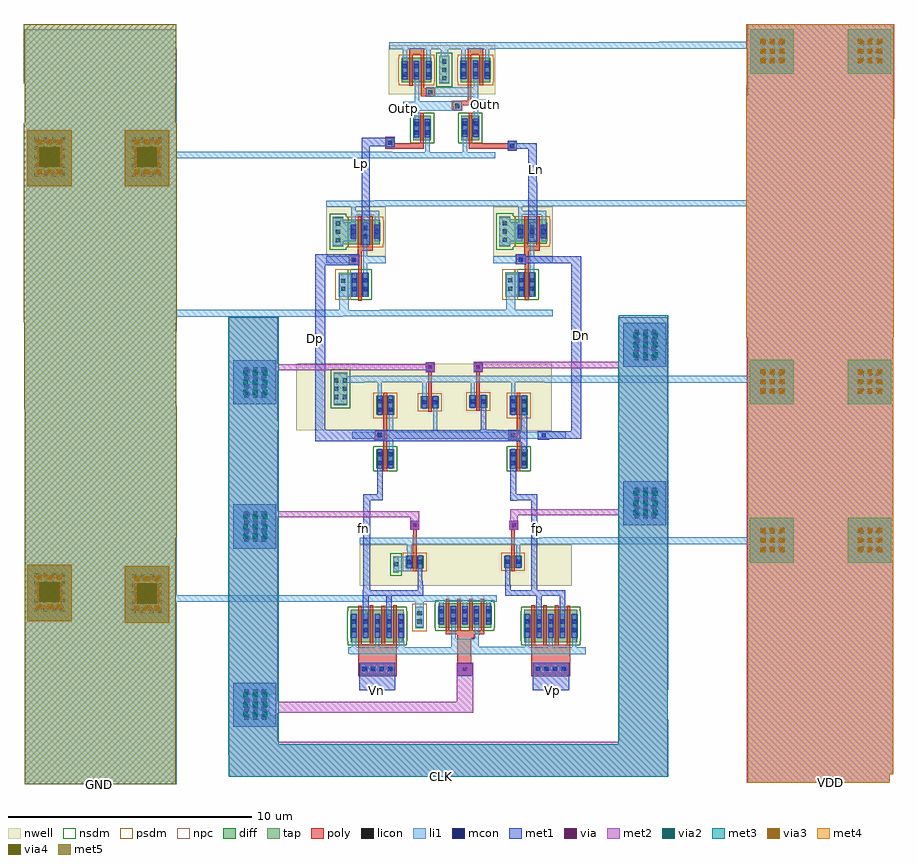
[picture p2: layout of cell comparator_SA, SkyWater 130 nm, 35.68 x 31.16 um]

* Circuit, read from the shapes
.subckt comparator_SA CLK Dn Dp GND Ln Lp Outn Outp VDD Vn Vp fn fp
XM1 fn Vn n1 GND sky130_fd_pr__nfet_01v8 w=1.33 l=0.15 m=4
XM2 Lp Dp GND GND sky130_fd_pr__nfet_01v8 w=1 l=0.15
XM3 Dn Dp fn GND sky130_fd_pr__nfet_01v8 w=0.78 l=0.15
XM4 GND Lp Outp GND sky130_fd_pr__nfet_01v8 w=1 l=0.15
XM5 n1 CLK GND GND sky130_fd_pr__nfet_01v8 w=1 l=0.15 m=4
XM6 Outn Ln GND GND sky130_fd_pr__nfet_01v8 w=1 l=0.15
XM7 Dp Dn fp GND sky130_fd_pr__nfet_01v8 w=0.78 l=0.15
XM8 Ln Dn GND GND sky130_fd_pr__nfet_01v8 w=1 l=0.15
XM9 fp Vp n1 GND sky130_fd_pr__nfet_01v8 w=1.33 l=0.15 m=4
XM10 Lp Dp VDD VDD sky130_fd_pr__pfet_01v8 w=1 l=0.15 m=2
XM11 Dn Dp VDD VDD sky130_fd_pr__pfet_01v8 w=0.78 l=0.15
XM12 Outp Outn VDD VDD sky130_fd_pr__pfet_01v8 w=1 l=0.15 m=2
XM13 fn CLK VDD VDD sky130_fd_pr__pfet_01v8 w=0.5 l=0.15
XM14 Dn CLK VDD VDD sky130_fd_pr__pfet_01v8 w=0.5 l=0.15
XM15 Outn Outp VDD VDD sky130_fd_pr__pfet_01v8 w=1 l=0.15 m=2
XM16 Dp CLK VDD VDD sky130_fd_pr__pfet_01v8 w=0.5 l=0.15
XM17 VDD CLK fp VDD sky130_fd_pr__pfet_01v8 w=0.5 l=0.15
XM18 Dp Dn VDD VDD sky130_fd_pr__pfet_01v8 w=0.78 l=0.15
XM19 Ln Dn VDD VDD sky130_fd_pr__pfet_01v8 w=1 l=0.15 m=2
.ends

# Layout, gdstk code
import gdstk
lib = gdstk.Library(unit=1e-6, precision=1e-09)
def R(c, l, rs):  # rectangles x0, y0, x1, y1
    for r in rs: c.add(gdstk.rectangle(r[:2], r[2:], *l))
def A(c, l, x, y, w, h, nx, ny, dx, dy):  # array of equal rectangles
    R(c, l, [(x+i*dx, y+j*dy, x+i*dx+w, y+j*dy+h) for i in range(nx) for j in range(ny)])
nwell = (64, 20)
diff = (65, 20)
tap = (65, 44)
poly = (66, 20)
licon = (66, 44)
li1 = (67, 20)
mcon = (67, 44)
met1 = (68, 20)
via = (68, 44)
met2 = (69, 20)
via2 = (69, 44)
met3 = (70, 20)
via3 = (70, 44)
met4 = (71, 20)
via4 = (71, 44)
met5 = (72, 20)
nsdm = (93, 44)
psdm = (94, 20)
npc = (95, 20)

sky130_fd_pr__pfet_01v8_ = lib.new_cell('sky130_fd_pr__pfet_01v8_5233FE')
R(sky130_fd_pr__pfet_01v8_, nwell, [(-0.545,-0.56,0.545,0.56)])
R(sky130_fd_pr__pfet_01v8_, diff, [(-0.365,-0.25,0.365,0.25)])
R(sky130_fd_pr__pfet_01v8_, poly, [(-0.075,-0.38,0.075,0.38)])
R(sky130_fd_pr__pfet_01v8_, licon, [(-0.305,-0.085,-0.135,0.085), (0.135,-0.085,0.305,0.085)])
R(sky130_fd_pr__pfet_01v8_, li1, [(-0.305,-0.27,-0.135,0.27), (0.135,-0.27,0.305,0.27)])
R(sky130_fd_pr__pfet_01v8_, mcon, [(-0.305,-0.085,-0.135,0.085), (0.135,-0.085,0.305,0.085)])
R(sky130_fd_pr__pfet_01v8_, met1, [(-0.335,-0.25,-0.105,0.25), (0.105,-0.25,0.335,0.25)])
R(sky130_fd_pr__pfet_01v8_, psdm, [(-0.49,-0.375,0.49,0.375)])

sky130_fd_pr__nfet_01v8_ = lib.new_cell('sky130_fd_pr__nfet_01v8_NHLLAS')
R(sky130_fd_pr__nfet_01v8_, diff, [(-1.085,-0.665,1.085,-0.48), (-1.105,-0.48,1.105,0.48), (-1.085,0.48,1.085,0.665)])
A(sky130_fd_pr__nfet_01v8_, poly, -0.795, -0.765, 0.15, 1.53, 4, 1, 0.48, 0)
A(sky130_fd_pr__nfet_01v8_, licon, -1.045, -0.255, 0.17, 0.17, 5, 2, 0.48, 0.34)
A(sky130_fd_pr__nfet_01v8_, li1, -1.045, -0.5, 0.17, 1, 5, 1, 0.48, 0)
A(sky130_fd_pr__nfet_01v8_, mcon, -1.045, -0.265, 0.17, 0.17, 5, 2, 0.48, 0.36)
A(sky130_fd_pr__nfet_01v8_, met1, -1.075, -0.48, 0.23, 0.96, 5, 1, 0.48, 0)
R(sky130_fd_pr__nfet_01v8_, nsdm, [(-1.21,-0.79,1.21,-0.605), (-1.23,-0.605,1.23,0.605), (-1.21,0.605,1.21,0.79)])

c_sky130_fd_pr__nfet_01v8_ = lib.new_cell('sky130_fd_pr__nfet_01v8_G6PLX8')
R(c_sky130_fd_pr__nfet_01v8_, diff, [(-1.085,-0.5,1.085,-0.37), (-1.105,-0.37,1.105,0.37), (-1.085,0.37,1.085,0.5)])
A(c_sky130_fd_pr__nfet_01v8_, poly, -0.795, -0.63, 0.15, 1.23, 4, 1, 0.48, 0)
R(c_sky130_fd_pr__nfet_01v8_, poly, [(-0.255,-0.94,0.375,-0.78), (-0.795,-0.78,0.795,-0.63)])
A(c_sky130_fd_pr__nfet_01v8_, licon, -1.045, -0.255, 0.17, 0.17, 5, 2, 0.48, 0.34)
A(c_sky130_fd_pr__nfet_01v8_, li1, -1.045, -0.39, 0.17, 0.78, 5, 1, 0.48, 0)
R(c_sky130_fd_pr__nfet_01v8_, li1, [(-4.725,-1.58,4.945,-1.51), (-4.725,-1.51,2.365,-1.49), (-2.655,-1.49,-2.485,-1.06), (-2.415,-1.49,2.365,-1.3), (-0.505,-1.3,2.365,-1.29)])
A(c_sky130_fd_pr__nfet_01v8_, mcon, -1.045, -0.265, 0.17, 0.17, 5, 2, 0.48, 0.36)
A(c_sky130_fd_pr__nfet_01v8_, met1, -1.075, -0.37, 0.23, 0.74, 5, 1, 0.48, 0)
R(c_sky130_fd_pr__nfet_01v8_, nsdm, [(-1.21,-0.625,1.21,-0.495), (-1.23,-0.495,1.23,0.495), (-1.21,0.495,1.21,0.625)])

preamp_part1sa = lib.new_cell('preamp_part1SA')
R(preamp_part1sa, nwell, [(-3.6,2.41,5.09,4.08)])
R(preamp_part1sa, tap, [(-2.23,2.95,-2,3.62)])
A(preamp_part1sa, poly, 3.44, -0.01, 0.15, 0.03, 4, 1, 0.48, 0)
A(preamp_part1sa, poly, -3.67, 0.02, 0.15, 0.01, 4, 1, 0.48, 0)
A(preamp_part1sa, poly, 3.44, 1.52, 0.15, 0.08, 3, 1, 0.48, 0)
A(preamp_part1sa, poly, 0.4, 1.77, 0.15, 0.11, 3, 1, 0.48, 0)
R(preamp_part1sa, poly, [(-3.67,-1.3,-2.08,0.02), (3.44,-1.3,5.03,-0.01), (0.4,-1.29,1.03,-0.85), (0.4,-0.85,0.97,0.42), (-3.67,1.5,-3.52,1.59), (-2.71,1.5,-2.56,1.59), (-3.19,1.51,-3.04,1.6), (-2.23,1.51,-2.08,1.6), (4.88,1.51,5.03,1.59), (-0.08,1.76,0.07,1.87), (-1.42,3.74,-1.26,4.48), (2.61,3.75,2.76,4.7), (-1.41,4.48,-1.26,4.7), (-1.51,4.7,-1.17,5.08), (2.53,4.7,2.87,5.08)])
A(preamp_part1sa, licon, -3.47, -1.09, 0.17, 0.17, 4, 1, 0.34, 0)
A(preamp_part1sa, licon, 3.64, -1.08, 0.17, 0.17, 4, 1, 0.34, 0)
R(preamp_part1sa, licon, [(0.625,-1.105,0.795,-0.935), (-2.2,3.2,-2.03,3.37), (-1.425,4.81,-1.255,4.98), (2.625,4.81,2.795,4.98)])
R(preamp_part1sa, li1, [(0.39,-1.3,1.03,-0.76), (-3.61,-1.26,-2.14,-0.75), (3.49,-1.25,4.98,-0.74), (-4.07,-0.37,-1.62,-0.11), (-0.12,-0.37,1.36,-0.11), (2.86,-0.37,5.6,-0.32), (2.86,-0.32,5.66,-0.11), (-3.92,-0.11,-3.75,0.29), (-2.96,-0.11,-2.79,0.28), (-2,-0.11,-1.83,0.33), (0.15,-0.11,1.28,0.24), (2.93,-0.11,3.36,-0.1), (4.15,-0.11,4.32,0.27), (5.11,-0.11,5.28,0.28), (3.19,-0.1,3.36,0.3), (0.15,0.24,0.33,0.86), (1.11,0.24,1.28,0.37), (1.11,0.37,1.29,0.93), (3.19,0.96,3.36,1.11), (5.11,0.96,5.28,1.11), (4.15,0.97,4.32,1.11), (0.63,1.55,0.8,1.86), (-0.33,1.56,-0.16,1.87), (1.59,1.56,1.76,1.87), (-2.23,2.99,-2,3), (-2.23,3,-1.49,3.5), (-2.23,3.5,-1.47,3.58), (2.82,3.56,2.99,4.12), (-2.12,3.58,-1.47,3.59), (-1.66,3.59,-1.47,3.86), (-1.67,3.86,-1.46,4.12), (-3.6,4.12,5.1,4.37), (-1.51,4.7,-1.17,5.08), (2.53,4.7,2.87,5.08)])
A(preamp_part1sa, mcon, -3.5, -1.085, 0.17, 0.17, 4, 1, 0.36, 0)
A(preamp_part1sa, mcon, 3.61, -1.08, 0.17, 0.17, 4, 1, 0.36, 0)
R(preamp_part1sa, mcon, [(0.63,-1.105,0.8,-0.935), (-1.425,4.81,-1.255,4.98), (2.625,4.81,2.795,4.98)])
R(preamp_part1sa, met1, [(0.39,-1.29,1.03,-0.76), (-3.61,-1.27,-2.14,-0.75), (3.49,-1.25,4.98,-0.74), (3.67,0.94,3.85,1.11), (4.62,0.96,4.8,1.11), (-3.47,1.18,-3.24,2), (-2.51,1.19,-2.28,2), (3.64,1.2,3.87,2), (4.6,1.22,4.83,2), (-3.47,2,-1,2.22), (2.36,2,4.83,2.22), (-1.22,2.22,-1,2.43), (2.36,2.22,2.6,2.43), (-1.22,2.43,-1.01,2.61), (2.36,2.43,2.58,3.26), (-1.22,2.61,-1.03,3.26), (-1.51,4.7,-1.17,5.08), (2.53,4.7,2.87,5.08)])
R(preamp_part1sa, nsdm, [(-2.355,2.825,-1.875,3.745)])
R(preamp_part1sa, npc, [(0.525,-1.205,0.895,-0.835), (-3.57,-1.19,-2.18,-0.82), (3.54,-1.18,4.93,-0.81), (-1.525,4.71,-1.155,5.08), (2.525,4.71,2.895,5.08)])
preamp_part1sa.add(gdstk.Reference(sky130_fd_pr__nfet_01v8_, (4.235,0.765)))
preamp_part1sa.add(gdstk.Reference(sky130_fd_pr__nfet_01v8_, (-2.875,0.765)))
preamp_part1sa.add(gdstk.Reference(c_sky130_fd_pr__nfet_01v8_, (0.715,1.19)))

c_sky130_fd_pr__pfet_01v8_ = lib.new_cell('sky130_fd_pr__pfet_01v8_5C3Z5B')
R(c_sky130_fd_pr__pfet_01v8_, nwell, [(-0.545,-0.7,0.545,0.7)])
R(c_sky130_fd_pr__pfet_01v8_, diff, [(-0.365,-0.39,0.365,0.39)])
R(c_sky130_fd_pr__pfet_01v8_, poly, [(-0.075,-0.52,0.075,0.52)])
R(c_sky130_fd_pr__pfet_01v8_, licon, [(-0.305,-0.255,-0.135,-0.085), (0.135,-0.255,0.305,-0.085), (-0.305,0.085,-0.135,0.255), (0.135,0.085,0.305,0.255)])
R(c_sky130_fd_pr__pfet_01v8_, li1, [(-0.305,-0.41,-0.135,0.41), (0.135,-0.41,0.305,0.41)])
R(c_sky130_fd_pr__pfet_01v8_, mcon, [(-0.305,-0.265,-0.135,-0.095), (0.135,-0.265,0.305,-0.095), (-0.305,0.095,-0.135,0.265), (0.135,0.095,0.305,0.265)])
R(c_sky130_fd_pr__pfet_01v8_, met1, [(-0.335,-0.39,-0.105,0.39), (0.105,-0.39,0.335,0.39)])
R(c_sky130_fd_pr__pfet_01v8_, psdm, [(-0.49,-0.515,0.49,0.515)])

c_sky130_fd_pr__nfet_01v8__ = lib.new_cell('sky130_fd_pr__nfet_01v8_KBWVY9')
R(c_sky130_fd_pr__nfet_01v8__, diff, [(-0.365,-0.39,0.365,0.39)])
R(c_sky130_fd_pr__nfet_01v8__, poly, [(-0.075,-0.52,0.075,0.52)])
R(c_sky130_fd_pr__nfet_01v8__, licon, [(-0.305,-0.255,-0.135,-0.085), (0.135,-0.255,0.305,-0.085), (-0.305,0.085,-0.135,0.255), (0.135,0.085,0.305,0.255)])
R(c_sky130_fd_pr__nfet_01v8__, li1, [(-0.305,-0.41,-0.135,0.41), (0.135,-0.41,0.305,0.41)])
R(c_sky130_fd_pr__nfet_01v8__, mcon, [(-0.305,-0.265,-0.135,-0.095), (0.135,-0.265,0.305,-0.095), (-0.305,0.095,-0.135,0.265), (0.135,0.095,0.305,0.265)])
R(c_sky130_fd_pr__nfet_01v8__, met1, [(-0.335,-0.39,-0.105,0.39), (0.105,-0.39,0.335,0.39)])
R(c_sky130_fd_pr__nfet_01v8__, nsdm, [(-0.49,-0.515,0.49,0.515)])

inv_w22 = lib.new_cell('inv_W22')
R(inv_w22, poly, [(0.89,1.49,0.93,1.52), (0.78,1.52,0.93,1.76), (0.42,1.76,0.93,2.18), (0.78,2.18,0.93,2.76)])
R(inv_w22, licon, [(0.535,1.88,0.705,2.05)])
R(inv_w22, li1, [(1,1.3,1.17,1.39), (0.42,1.76,0.83,1.82), (-0.5,1.82,0.83,2.1), (0.42,2.1,0.83,2.18), (0.55,3.54,0.72,4.14), (-0.5,4.14,1.94,4.39)])
R(inv_w22, npc, [(0.435,1.78,0.805,2.15)])
inv_w22.add(gdstk.Reference(c_sky130_fd_pr__pfet_01v8_, (0.855,3.18)))
inv_w22.add(gdstk.Reference(c_sky130_fd_pr__nfet_01v8__, (0.855,1)))
inv_w22.add(gdstk.Label('Vin', (-0.5,1.95), layer=67, texttype=5))
inv_w22.add(gdstk.Label('VDD', (-0.5,4.27), layer=67, texttype=5))

latch_2sa = lib.new_cell('latch_2SA')
R(latch_2sa, nwell, [(0,2.58,7.97,4.67)])
R(latch_2sa, li1, [(2.4,2.18,5.6,2.46), (3.14,4.49,3.31,4.5), (4.1,4.49,4.27,4.5), (2.51,4.5,5.7,4.75)])
latch_2sa.add(gdstk.Reference(inv_w22, (6.07,0.36)))
latch_2sa.add(gdstk.Reference(inv_w22, (0.6,0.36)))

pmos_2uf2 = lib.new_cell('pmos_2uf2')
R(pmos_2uf2, nwell, [(-1.585,-1.01,0.845,1.02)])
R(pmos_2uf2, diff, [(-0.695,-0.5,0.605,-0.37), (-0.695,-0.37,0.625,0.37), (-0.695,0.37,0.605,0.5)])
R(pmos_2uf2, tap, [(-1.335,-0.62,-0.895,-0.5), (-1.335,-0.5,-0.695,0.5), (-1.335,0.5,-0.895,0.62)])
R(pmos_2uf2, poly, [(-0.315,-0.65,-0.165,0.63), (0.165,-0.65,0.315,0.63)])
A(pmos_2uf2, licon, -1.2, -0.425, 0.17, 0.17, 1, 3, 0, 0.34)
A(pmos_2uf2, licon, -0.565, -0.255, 0.17, 0.17, 3, 2, 0.48, 0.34)
R(pmos_2uf2, li1, [(-1.335,-0.58,-0.895,-0.39), (-1.335,-0.39,-0.395,0.39), (-0.085,-0.39,0.085,0.39), (0.395,-0.39,0.565,0.39), (-1.335,0.39,-0.895,0.58)])
R(pmos_2uf2, mcon, [(-0.565,-0.085,-0.395,0.085), (0.395,-0.085,0.565,0.085)])
R(pmos_2uf2, met1, [(-0.595,-0.28,-0.365,0.28), (0.365,-0.28,0.595,0.28)])
R(pmos_2uf2, nsdm, [(-1.46,-0.745,-0.77,-0.625), (-1.46,-0.625,-0.695,0.625), (-1.46,0.625,-0.77,0.745)])
R(pmos_2uf2, psdm, [(-0.695,-0.625,0.73,-0.495), (-0.695,-0.495,0.75,0.495), (-0.695,0.495,0.73,0.625)])

c_sky130_fd_pr__nfet_01v8___ = lib.new_cell('sky130_fd_pr__nfet_01v8_7RYEVP')
R(c_sky130_fd_pr__nfet_01v8___, diff, [(-0.365,-0.345,0.365,0.655)])
R(c_sky130_fd_pr__nfet_01v8___, poly, [(-0.075,-0.445,0.075,0.785)])
R(c_sky130_fd_pr__nfet_01v8___, licon, [(-0.305,-0.1,-0.135,0.07), (0.135,-0.1,0.305,0.07), (-0.305,0.24,-0.135,0.41), (0.135,0.24,0.305,0.41)])
R(c_sky130_fd_pr__nfet_01v8___, li1, [(-0.305,-0.285,-0.135,0.595), (0.135,-0.285,0.305,0.595)])
R(c_sky130_fd_pr__nfet_01v8___, mcon, [(-0.305,-0.11,-0.135,0.06), (0.135,-0.11,0.305,0.06), (-0.305,0.25,-0.135,0.42), (0.135,0.25,0.305,0.42)])
R(c_sky130_fd_pr__nfet_01v8___, met1, [(-0.335,-0.345,-0.105,0.655), (0.105,-0.345,0.335,0.655)])
R(c_sky130_fd_pr__nfet_01v8___, nsdm, [(-0.49,-0.47,0.49,0.78)])

nmos_1u = lib.new_cell('nmos_1u')
R(nmos_1u, diff, [(-0.06,0.37,-0.05,1.37)])
R(nmos_1u, tap, [(-0.56,0.37,-0.06,1.37)])
R(nmos_1u, licon, [(-0.45,0.615,-0.28,0.785), (-0.45,0.955,-0.28,1.125)])
R(nmos_1u, li1, [(-0.53,0.43,0.01,1.31)])
R(nmos_1u, nsdm, [(-0.06,0.245,0.075,1.495)])
R(nmos_1u, psdm, [(-0.685,0.245,-0.06,1.495)])
nmos_1u.add(gdstk.Reference(c_sky130_fd_pr__nfet_01v8___, (0.315,0.715)))

inv_w1 = lib.new_cell('inv_W1')
R(inv_w1, nwell, [(-0.5,2.1,-0.49,4.13), (0.78,2.16,1.41,2.47), (0.53,3.79,1.67,3.97)])
R(inv_w1, poly, [(0.8,1.49,0.95,1.76), (0.42,1.76,0.95,2.18), (0.78,2.18,0.95,2.33), (0.78,2.33,1.41,2.53)])
R(inv_w1, licon, [(0.54,1.88,0.71,2.05)])
R(inv_w1, li1, [(-0.5,-0.36,1.94,-0.1), (0.03,-0.1,0.41,0.57), (1.01,1.3,1.18,1.82), (0.42,1.76,0.84,1.82), (-0.5,1.82,0.84,2.1), (1.01,1.82,1.94,2.1), (0.42,2.1,0.84,2.18), (1.01,2.1,1.18,2.78), (0.53,2.89,0.7,3.79), (1.49,3.42,1.67,3.79), (0.53,3.79,1.67,3.97), (0.53,3.97,0.7,4.14), (-0.5,4.14,1.94,4.39)])
R(inv_w1, npc, [(0.44,1.78,0.81,2.15)])
inv_w1.add(gdstk.Reference(pmos_2uf2, (1.095,3.11)))
inv_w1.add(gdstk.Reference(nmos_1u, (0.56,0.07)))
inv_w1.add(gdstk.Label('Vin', (-0.5,1.95), layer=67, texttype=5))
inv_w1.add(gdstk.Label('Vout', (1.94,1.96), layer=67, texttype=5))
inv_w1.add(gdstk.Label('VDD', (-0.5,4.27), layer=67, texttype=5))
inv_w1.add(gdstk.Label('GND', (-0.5,-0.23), layer=67, texttype=5))

c_sky130_fd_pr__pfet_01v8__ = lib.new_cell('sky130_fd_pr__pfet_01v8_AC5E9B')
R(c_sky130_fd_pr__pfet_01v8__, nwell, [(-0.805,-1,0.325,-0.81), (-0.805,-0.81,0.805,0.81), (-0.325,0.81,0.805,1)])
R(c_sky130_fd_pr__pfet_01v8__, diff, [(-0.605,-0.5,0.605,-0.37), (-0.625,-0.37,0.625,0.37), (-0.605,0.37,0.605,0.5)])
R(c_sky130_fd_pr__pfet_01v8__, poly, [(-0.315,-0.65,-0.165,0.63), (0.165,-0.63,0.315,0.65)])
A(c_sky130_fd_pr__pfet_01v8__, licon, -0.565, -0.255, 0.17, 0.17, 3, 2, 0.48, 0.34)
A(c_sky130_fd_pr__pfet_01v8__, li1, -0.565, -0.39, 0.17, 0.78, 3, 1, 0.48, 0)
A(c_sky130_fd_pr__pfet_01v8__, mcon, -0.565, -0.265, 0.17, 0.17, 3, 2, 0.48, 0.36)
A(c_sky130_fd_pr__pfet_01v8__, met1, -0.595, -0.37, 0.23, 0.74, 3, 1, 0.48, 0)
R(c_sky130_fd_pr__pfet_01v8__, psdm, [(-0.73,-0.625,0.73,-0.495), (-0.75,-0.495,0.75,0.495), (-0.73,0.495,0.73,0.625)])

c_sky130_fd_pr__nfet_01v8____ = lib.new_cell('sky130_fd_pr__nfet_01v8_F5U58G')
R(c_sky130_fd_pr__nfet_01v8____, diff, [(-0.365,-0.5,0.365,0.5)])
R(c_sky130_fd_pr__nfet_01v8____, poly, [(-0.075,-0.63,0.075,0.63)])
R(c_sky130_fd_pr__nfet_01v8____, licon, [(-0.305,-0.255,-0.135,-0.085), (0.135,-0.255,0.305,-0.085), (-0.305,0.085,-0.135,0.255), (0.135,0.085,0.305,0.255)])
R(c_sky130_fd_pr__nfet_01v8____, li1, [(-0.305,-0.39,-0.135,0.39), (0.135,-0.39,0.305,0.39)])
R(c_sky130_fd_pr__nfet_01v8____, mcon, [(-0.305,-0.265,-0.135,-0.095), (0.135,-0.265,0.305,-0.095), (-0.305,0.095,-0.135,0.265), (0.135,0.095,0.305,0.265)])
R(c_sky130_fd_pr__nfet_01v8____, met1, [(-0.335,-0.37,-0.105,0.37), (0.105,-0.37,0.335,0.37)])
R(c_sky130_fd_pr__nfet_01v8____, nsdm, [(-0.49,-0.625,0.49,0.625)])

sr_latch = lib.new_cell('SR_latch')
R(sr_latch, nwell, [(0,2.62,4.36,4.63)])
R(sr_latch, poly, [(2.59,1.96,3.01,2.17), (2.59,2.17,3.39,2.37), (3.24,2.37,3.39,3.03), (1.31,2.54,1.9,2.88), (1.31,2.88,1.46,3.05), (0.83,4.24,1.46,4.51), (3.24,4.24,3.87,4.51)])
R(sr_latch, licon, [(2.72,2.065,2.89,2.235), (1.62,2.63,1.79,2.8)])
R(sr_latch, li1, [(0,0,4.36,0.26), (1.49,0.26,1.68,0.92), (3.03,0.26,3.22,0.97), (1.06,1.36,1.24,1.96), (3.48,1.58,3.66,2.52), (1.06,1.96,2.99,2.35), (1.06,2.35,1.24,3.26), (1.53,2.52,3.66,2.92), (3.48,2.92,3.66,3.48), (2.98,3.83,3.16,4.48), (3.95,3.84,4.13,4.48), (0.57,3.87,0.76,4.48), (1.54,3.88,1.72,4.48), (0.01,4.48,4.36,4.74)])
R(sr_latch, npc, [(2.62,1.965,2.99,2.335), (1.52,2.53,1.89,2.9)])
sr_latch.add(gdstk.Reference(c_sky130_fd_pr__pfet_01v8__, (3.555,3.63)))
sr_latch.add(gdstk.Reference(c_sky130_fd_pr__pfet_01v8__, (1.145,3.62)))
sr_latch.add(gdstk.Reference(c_sky130_fd_pr__nfet_01v8____, (3.345,1.25)))
sr_latch.add(gdstk.Reference(c_sky130_fd_pr__nfet_01v8____, (1.365,1.24)))
sr_latch.add(gdstk.Label('VDD', (4.36,4.67), layer=67, texttype=5))
sr_latch.add(gdstk.Label('GND', (4.35,0.13), layer=67, texttype=5))

comparator_sa = lib.new_cell('comparator_SA')
R(comparator_sa, nwell, [(6.71,10.06,8.66,10.08), (-1.82,10.08,8.66,12.81), (-1.78,12.81,8.61,12.82), (-1.74,12.82,0.74,12.84), (3.91,24.22,4.7,25.64)])
R(comparator_sa, tap, [(3.05,1.97,3.41,2.85), (-0.29,11.11,0.27,12.46), (4.05,24.29,4.44,25.43)])
R(comparator_sa, poly, [(3.58,11.49,3.73,12.47), (5.56,11.55,5.71,12.47), (3.48,12.47,3.85,12.88), (5.45,12.47,5.82,12.88), (0.71,15.4,0.86,15.47), (7.55,15.41,7.7,15.49), (6.84,21.55,7.21,21.62), (1.83,21.62,3.41,21.85), (5.24,21.62,7.21,21.85), (1.83,21.85,2.22,22.11), (6.84,21.85,7.21,21.96), (3.26,23.02,3.41,23.06)])
A(comparator_sa, licon, -0.265, 11.36, 0.17, 0.17, 1, 3, 0, 0.34)
A(comparator_sa, licon, 0.075, 11.36, 0.17, 0.17, 1, 3, 0, 0.34)
A(comparator_sa, licon, 4.16, 24.435, 0.17, 0.17, 1, 3, 0, 0.34)
R(comparator_sa, licon, [(3.145,2.155,3.315,2.325), (3.145,2.495,3.315,2.665), (3.585,12.6,3.755,12.77), (5.555,12.6,5.725,12.77), (6.94,21.655,7.11,21.825), (1.94,21.785,2.11,21.955)])
R(comparator_sa, li1, [(-12.96,-4.42,-6.73,3.06), (16.68,-4.37,22.51,-4.03), (16.68,-4.03,22.66,5.41), (-4.4,-2.08,-2.65,-1.61), (-4.4,-1.61,-2.94,-0.75), (-4.4,-0.75,-2.65,-0.26), (3.05,2.01,3.41,3.06), (-12.96,3.06,6.4,3.32), (-12.96,3.32,-6.73,5.69), (-4.4,5.23,-2.65,7.04), (8.28,5.41,22.66,5.69), (-12.96,5.69,-6.72,10.94), (8.28,5.69,11.59,5.7), (13.35,5.69,22.66,5.7), (16.68,5.7,22.66,12.04), (11.6,6.19,13.35,6.37), (11.59,6.37,13.35,6.66), (11.6,6.66,13.35,8), (1.97,9.24,2.15,9.74), (7.43,9.31,7.61,9.41), (1.97,9.74,2.79,10.02), (6.66,9.74,9.23,10.02), (1.45,9.75,1.74,10.03), (3.79,9.97,3.96,11), (1.97,10.02,2.15,10.84), (-12.97,10.94,-6.72,11), (-12.97,11,-6.73,11.09), (-12.97,11.09,-6.74,14.15), (-4.4,11.14,-2.65,12.68), (-0.29,11.15,0.27,12.03), (3.35,11.27,3.52,12.15), (5.33,11.43,5.5,12.12), (-0.29,12.03,0.97,12.3), (8.36,12.03,16.38,12.04), (8.36,12.04,22.66,12.31), (-0.29,12.3,0.27,12.42), (16.41,12.31,22.66,12.32), (16.68,12.32,22.66,13.89), (3.49,12.51,3.84,12.86), (5.46,12.51,5.81,12.86), (-4.41,12.68,-2.65,12.95), (11.6,12.68,13.35,13.58), (11.59,13.58,13.37,13.86), (11.6,13.86,13.35,14.22), (16.63,13.89,22.68,19.26), (-12.97,14.15,-6.73,14.52), (11.59,14.22,13.35,14.49), (-12.99,14.52,-6.72,14.74), (-12.99,14.74,0.09,15.03), (1.61,14.76,6.4,15.02), (-12.99,15.03,-6.72,21.23), (0.38,16.92,0.69,17.23), (7.22,16.94,7.53,17.22), (0.92,17.93,1.09,18.46), (7.76,17.98,7.93,18.47), (1.4,19.26,22.68,19.51), (16.63,19.51,22.68,23.8), (-12.99,21.23,2.12,21.5), (-12.99,21.5,-6.72,22.67), (6.84,21.55,7.21,21.96), (1.84,21.68,2.21,22.09), (-12.96,22.67,-6.73,25.72), (2.57,23.22,3.88,23.56), (5.45,23.27,5.95,23.64), (16.68,23.8,22.66,25.72), (4.05,24.33,4.44,25.39), (4.11,25.39,4.4,25.83), (-12.96,25.72,-6.75,26.53), (5.74,25.72,22.66,25.95), (1.98,25.95,22.66,26), (13.06,26,22.66,26.01), (16.67,26.01,22.66,26.03), (16.68,26.03,22.66,26.74)])
A(comparator_sa, mcon, -3.95, -1.79, 0.17, 0.17, 3, 4, 0.36, 0.36)
A(comparator_sa, mcon, -8.56, 2.59, 0.17, 0.17, 4, 5, 0.36, 0.36)
A(comparator_sa, mcon, -12.56, 2.64, 0.17, 0.17, 4, 5, 0.36, 0.36)
A(comparator_sa, mcon, 17.255, 5.135, 0.17, 0.17, 3, 3, 0.36, 0.36)
A(comparator_sa, mcon, 21.255, 5.135, 0.17, 0.17, 3, 3, 0.36, 0.36)
A(comparator_sa, mcon, -3.95, 5.51, 0.17, 0.17, 3, 4, 0.36, 0.36)
A(comparator_sa, mcon, 12.05, 6.47, 0.17, 0.17, 3, 4, 0.36, 0.36)
A(comparator_sa, mcon, -3.95, 11.42, 0.17, 0.17, 3, 4, 0.36, 0.36)
A(comparator_sa, mcon, 17.255, 11.635, 0.17, 0.17, 3, 3, 0.36, 0.36)
A(comparator_sa, mcon, 21.255, 11.635, 0.17, 0.17, 3, 3, 0.36, 0.36)
A(comparator_sa, mcon, 12.05, 12.96, 0.17, 0.17, 3, 4, 0.36, 0.36)
A(comparator_sa, mcon, -12.56, 20.48, 0.17, 0.17, 4, 5, 0.36, 0.36)
A(comparator_sa, mcon, -8.56, 20.48, 0.17, 0.17, 4, 5, 0.36, 0.36)
A(comparator_sa, mcon, 17.255, 25.185, 0.17, 0.17, 3, 3, 0.36, 0.36)
A(comparator_sa, mcon, 21.255, 25.185, 0.17, 0.17, 3, 3, 0.36, 0.36)
R(comparator_sa, mcon, [(8.235,9.795,8.405,9.965), (1.51,9.805,1.68,9.975), (3.585,12.6,3.755,12.77), (5.555,12.6,5.725,12.77), (0.45,16.99,0.62,17.16), (7.29,16.995,7.46,17.165), (0.92,17.93,1.09,18.1), (7.76,18.14,7.93,18.31), (0.92,18.29,1.09,18.46), (6.94,21.655,7.11,21.825), (1.94,21.785,2.11,21.955)])
R(comparator_sa, met1, [(-4.41,-2.08,-2.65,-0.26), (0.76,-0.58,2.23,0.54), (7.87,-0.58,9.37,0.56), (4.85,0.05,5.34,0.49), (-8.85,2.2,-7.02,4.51), (-12.85,2.25,-11.02,4.56), (7.81,3.31,8.06,7.21), (0.92,3.52,1.21,7.21), (16.78,4.65,18.57,6.49), (20.78,4.65,22.57,6.49), (-4.41,5.23,-2.65,7.04), (2.91,6.03,3.19,6.34), (6.95,6.05,7.23,6.34), (11.59,6.19,13.35,8), (6.96,7.2,7.19,7.21), (0.92,7.21,1.73,7.45), (6.96,7.21,8.06,7.47), (1.49,7.45,1.73,8.65), (6.96,7.47,7.19,8.7), (7.4,8.54,7.51,9.07), (7.4,9.23,7.64,9.64), (-1.04,9.64,7.65,10.09), (8.07,9.69,8.55,9.74), (8.07,9.74,9.87,10.04), (9.46,10.04,9.87,11.9), (-1.04,10.09,1.6,10.1), (5.74,10.09,6.38,10.1), (7.4,10.09,7.64,10.77), (-1.04,10.1,-0.64,16.85), (5.74,10.1,5.97,11.11), (-4.41,11.14,-2.65,12.95), (16.78,11.15,18.57,12.98), (20.78,11.15,22.57,12.98), (9.46,11.9,9.86,14.15), (3.49,12.51,3.84,12.86), (5.46,12.51,5.81,12.86), (11.59,12.68,13.35,14.49), (9.45,14.15,9.86,16.94), (-1.04,16.85,0.75,17.31), (7.17,16.88,7.59,16.94), (7.17,16.94,9.86,17.22), (7.17,17.22,7.59,17.3), (0.87,17.68,1.19,21.72), (7.68,17.82,8.05,20.27), (-12.85,20.09,-11.02,22.38), (-8.85,20.09,-7.02,22.38), (7.69,20.27,8.04,21.62), (6.84,21.55,7.21,21.63), (7.63,21.62,8.04,21.63), (6.84,21.63,8.04,21.86), (1.84,21.68,2.21,21.72), (0.86,21.72,2.21,22.07), (6.84,21.86,7.21,21.96), (1.84,22.07,2.21,22.09), (16.79,24.7,18.57,26.53), (20.78,24.7,22.57,26.53)])
A(comparator_sa, via, -3.9, -1.72, 0.15, 0.15, 3, 4, 0.32, 0.32)
A(comparator_sa, via, -8.49, 2.68, 0.15, 0.15, 4, 5, 0.32, 0.32)
A(comparator_sa, via, -12.49, 2.73, 0.15, 0.15, 4, 5, 0.32, 0.32)
A(comparator_sa, via, 17.305, 5.185, 0.15, 0.15, 3, 3, 0.32, 0.32)
A(comparator_sa, via, 21.305, 5.185, 0.15, 0.15, 3, 3, 0.32, 0.32)
A(comparator_sa, via, -3.9, 5.58, 0.15, 0.15, 3, 4, 0.32, 0.32)
A(comparator_sa, via, 12.1, 6.54, 0.15, 0.15, 3, 4, 0.32, 0.32)
A(comparator_sa, via, -3.9, 11.49, 0.15, 0.15, 3, 4, 0.32, 0.32)
A(comparator_sa, via, 17.305, 11.685, 0.15, 0.15, 3, 3, 0.32, 0.32)
A(comparator_sa, via, 21.305, 11.685, 0.15, 0.15, 3, 3, 0.32, 0.32)
A(comparator_sa, via, 12.1, 13.03, 0.15, 0.15, 3, 4, 0.32, 0.32)
A(comparator_sa, via, -12.49, 20.57, 0.15, 0.15, 4, 5, 0.32, 0.32)
A(comparator_sa, via, -8.49, 20.57, 0.15, 0.15, 4, 5, 0.32, 0.32)
A(comparator_sa, via, 17.305, 25.235, 0.15, 0.15, 3, 3, 0.32, 0.32)
A(comparator_sa, via, 21.305, 25.235, 0.15, 0.15, 3, 3, 0.32, 0.32)
R(comparator_sa, via, [(5.02,0.195,5.17,0.345), (2.975,6.11,3.125,6.26), (7.015,6.12,7.165,6.27), (3.605,12.615,3.755,12.765), (5.575,12.615,5.725,12.765)])
R(comparator_sa, met2, [(16.64,-4.37,22.51,-4.03), (-4.6,-4.12,13.41,-2.68), (16.64,-4.03,22.66,13.89), (-4.6,-2.68,-2.59,-1.5), (11.39,-2.68,13.4,6.6), (-4.6,-1.5,5.44,-1.05), (-4.6,-1.05,-2.59,6.52), (4.76,-1.05,5.43,0.55), (-8.85,2.2,-7.02,4.51), (-12.85,2.25,-11.02,4.56), (2.85,6,3.22,6.52), (6.91,6,7.25,6.38), (6.95,6.38,7.25,6.6), (-4.6,6.52,3.22,6.76), (6.95,6.6,13.4,6.85), (-4.6,6.76,-2.59,10.13), (2.85,6.76,3.22,6.77), (11.39,6.85,13.4,9.96), (11.38,9.96,13.42,10.74), (-4.6,10.13,-2.55,10.46), (-4.6,10.46,-2.59,12.55), (11.39,10.74,13.4,12.63), (3.48,12.47,3.85,12.55), (5.45,12.47,5.82,12.63), (-4.6,12.55,3.85,12.79), (5.45,12.63,13.4,12.89), (-4.6,12.79,-2.59,14.71), (3.48,12.79,3.85,12.88), (5.78,12.89,13.4,12.9), (11.39,12.9,13.4,14.72), (16.63,13.89,22.68,23.8), (-12.85,20.09,-11.02,22.38), (-8.85,20.09,-7.02,22.38), (16.64,23.8,22.66,26.74)])
A(comparator_sa, via2, -4.005, -1.665, 0.2, 0.2, 3, 3, 0.4, 0.4)
A(comparator_sa, via2, -8.435, 2.695, 0.2, 0.2, 3, 4, 0.4, 0.4)
A(comparator_sa, via2, -12.435, 2.745, 0.2, 0.2, 3, 4, 0.4, 0.4)
A(comparator_sa, via2, 17.2, 5.08, 0.2, 0.2, 3, 3, 0.4, 0.4)
A(comparator_sa, via2, 21.2, 5.08, 0.2, 0.2, 3, 3, 0.4, 0.4)
A(comparator_sa, via2, -4.005, 5.635, 0.2, 0.2, 3, 3, 0.4, 0.4)
A(comparator_sa, via2, 11.995, 6.595, 0.2, 0.2, 3, 3, 0.4, 0.4)
A(comparator_sa, via2, -4.005, 11.545, 0.2, 0.2, 3, 3, 0.4, 0.4)
A(comparator_sa, via2, 17.2, 11.58, 0.2, 0.2, 3, 3, 0.4, 0.4)
A(comparator_sa, via2, 21.2, 11.58, 0.2, 0.2, 3, 3, 0.4, 0.4)
A(comparator_sa, via2, 11.995, 13.085, 0.2, 0.2, 3, 3, 0.4, 0.4)
A(comparator_sa, via2, -12.435, 20.585, 0.2, 0.2, 3, 4, 0.4, 0.4)
A(comparator_sa, via2, -8.435, 20.585, 0.2, 0.2, 3, 4, 0.4, 0.4)
A(comparator_sa, via2, 17.2, 25.13, 0.2, 0.2, 3, 3, 0.4, 0.4)
A(comparator_sa, via2, 21.2, 25.13, 0.2, 0.2, 3, 3, 0.4, 0.4)
R(comparator_sa, met3, [(-4.6,-4.12,13.42,-3.23), (-4.62,-3.23,13.42,-2.78), (-4.62,-2.78,-2.55,14.74), (11.38,-2.78,13.42,-1.78), (11.38,-1.78,13.41,-0.55), (11.38,-0.55,13.42,14.72), (-8.85,2.2,-7.02,4.51), (-12.85,2.25,-11.02,4.56), (16.78,4.65,18.57,6.49), (20.78,4.65,22.57,6.49), (16.78,11.15,18.57,12.98), (20.78,11.15,22.57,12.98), (11.39,14.72,13.42,14.8), (-12.85,20.09,-11.02,22.38), (-8.85,20.09,-7.02,22.38), (16.79,24.7,18.57,26.53), (20.78,24.7,22.57,26.53)])
A(comparator_sa, via3, -8.435, 2.695, 0.2, 0.2, 3, 4, 0.4, 0.4)
A(comparator_sa, via3, -12.435, 2.745, 0.2, 0.2, 3, 4, 0.4, 0.4)
A(comparator_sa, via3, 17.2, 5.08, 0.2, 0.2, 3, 3, 0.4, 0.4)
A(comparator_sa, via3, 21.2, 5.08, 0.2, 0.2, 3, 3, 0.4, 0.4)
A(comparator_sa, via3, 17.2, 11.58, 0.2, 0.2, 3, 3, 0.4, 0.4)
A(comparator_sa, via3, 21.2, 11.58, 0.2, 0.2, 3, 3, 0.4, 0.4)
A(comparator_sa, via3, -12.435, 20.585, 0.2, 0.2, 3, 4, 0.4, 0.4)
A(comparator_sa, via3, -8.435, 20.585, 0.2, 0.2, 3, 4, 0.4, 0.4)
A(comparator_sa, via3, 17.2, 25.13, 0.2, 0.2, 3, 3, 0.4, 0.4)
A(comparator_sa, via3, 21.2, 25.13, 0.2, 0.2, 3, 3, 0.4, 0.4)
R(comparator_sa, met4, [(16.68,-4.37,22.51,-4.03), (16.68,-4.03,22.66,13.89), (-8.85,2.2,-7.02,4.51), (-12.85,2.25,-11.02,4.56), (16.63,13.89,22.68,22.85), (-12.85,20.09,-11.02,22.38), (-8.85,20.09,-7.02,22.38), (16.63,22.85,22.69,24.23), (16.64,24.23,22.69,25.71), (16.62,25.71,22.69,26.74)])
R(comparator_sa, via4, [(-8.335,2.995,-7.535,3.795), (-12.335,3.045,-11.535,3.845), (-12.335,20.885,-11.535,21.685), (-8.335,20.885,-7.535,21.685)])
R(comparator_sa, met5, [(-12.96,-4.42,-6.77,5.69), (-12.96,5.69,-6.72,10.94), (-12.97,10.94,-6.72,11), (-12.97,11,-6.74,14.52), (-12.99,14.52,-6.72,22.67), (-12.96,22.67,-6.77,24.32), (-12.99,24.32,-6.75,26.74)])
R(comparator_sa, nsdm, [(-0.415,10.985,0.395,12.585), (3.925,24.165,4.565,25.555)])
R(comparator_sa, psdm, [(2.925,1.845,3.535,2.975)])
R(comparator_sa, npc, [(3.485,12.5,3.855,12.87), (5.455,12.5,5.825,12.87), (6.84,21.555,7.21,21.925), (1.84,21.685,2.21,22.055)])
comparator_sa.add(gdstk.Reference(sky130_fd_pr__pfet_01v8_, (5.635,11.26)))
comparator_sa.add(gdstk.Reference(sky130_fd_pr__pfet_01v8_, (3.655,11.23)))
comparator_sa.add(gdstk.Reference(sky130_fd_pr__pfet_01v8_, (7.065,4.69)))
comparator_sa.add(gdstk.Reference(sky130_fd_pr__pfet_01v8_, (3.035,4.68)))
comparator_sa.add(gdstk.Reference(preamp_part1sa, (4.38,1.3)))
comparator_sa.add(gdstk.Reference(latch_2sa, (0.37,7.56)))
comparator_sa.add(gdstk.Reference(inv_w1, (6.75,15.12)))
comparator_sa.add(gdstk.Reference(inv_w1, (-0.09,15.11)))
comparator_sa.add(gdstk.Reference(sr_latch, (1.97,21.23)))
comparator_sa.add(gdstk.Label('CLK', (4.13,-4.12), layer=70, texttype=5))
comparator_sa.add(gdstk.Label('GND', (-9.88,-4.42), layer=72, texttype=5))
comparator_sa.add(gdstk.Label('VDD', (20.08,-4.37), layer=71, texttype=5))
comparator_sa.add(gdstk.Label('Vn', (1.48,-0.58), layer=68, texttype=5))
comparator_sa.add(gdstk.Label('Vp', (8.69,-0.58), layer=68, texttype=5))
comparator_sa.add(gdstk.Label('Outn', (5.95,23.44), layer=67, texttype=5))
comparator_sa.add(gdstk.Label('Outp', (2.57,23.27), layer=67, texttype=5))
comparator_sa.add(gdstk.Label('fn', (0.92,6.07), layer=68, texttype=5))
comparator_sa.add(gdstk.Label('fp', (8.06,6.04), layer=68, texttype=5))
comparator_sa.add(gdstk.Label('Dp', (-1.04,13.86), layer=68, texttype=5))
comparator_sa.add(gdstk.Label('Dn', (9.86,13.95), layer=68, texttype=5))
comparator_sa.add(gdstk.Label('Lp', (0.87,21.02), layer=68, texttype=5))
comparator_sa.add(gdstk.Label('Ln', (8.04,20.77), layer=68, texttype=5))

lib.write_gds('comparator_SA.gds')
